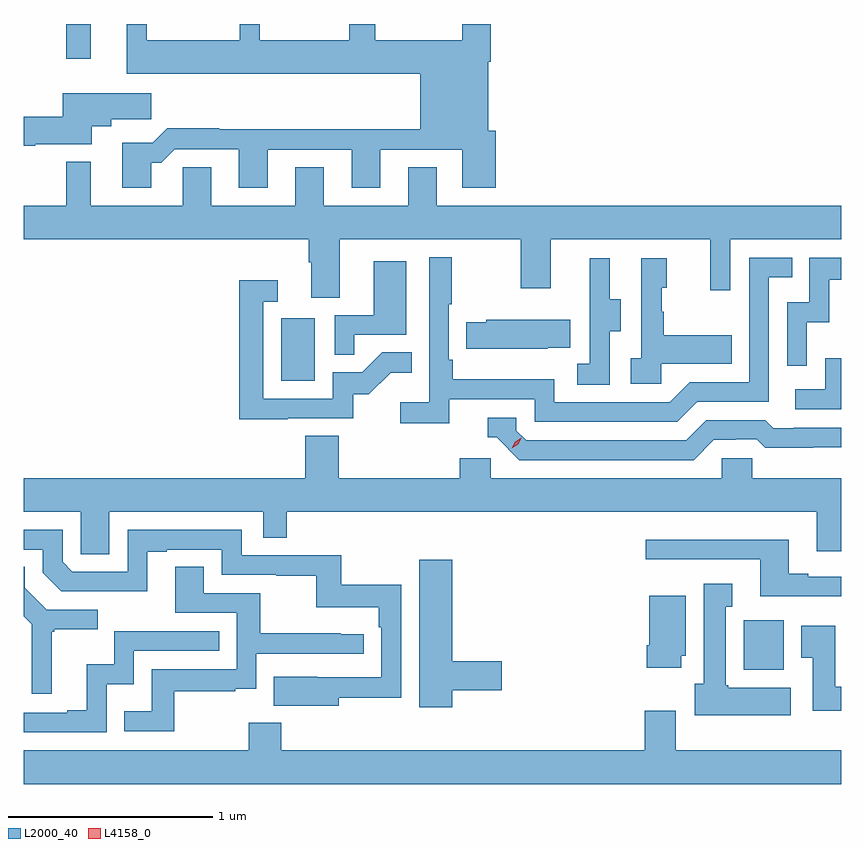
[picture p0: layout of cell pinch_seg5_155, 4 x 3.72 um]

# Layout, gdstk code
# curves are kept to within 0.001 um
import gdstk
lib = gdstk.Library(unit=1e-6, precision=1e-09)
def R(c, l, rs):  # rectangles x0, y0, x1, y1
    for r in rs: c.add(gdstk.rectangle(r[:2], r[2:], *l))
def P(c, l, *ps):  # polygons
    for p in ps: c.add(gdstk.Polygon(p, *l))
L2000_40 = (2000, 40)
L4158_0 = (4158, 0)

pinch_seg5_155 = lib.new_cell('pinch_seg5_155')
R(pinch_seg5_155, L2000_40, [(1105.088,883.958,1105.285,884.2), (1102.826,885.372,1102.99,885.679), (1101.774,886.947,1101.895,887.118)])
P(pinch_seg5_155, L2000_40, [(1102.189,886.439),(1102.238,886.439),(1102.305,886.506),(1102.619,886.506),(1102.619,886.317),(1102.759,886.317),(1102.759,886.503),(1103.171,886.503),(1103.171,886.317),(1103.311,886.317),(1103.311,886.503),(1103.711,886.503),(1103.711,886.317),(1103.876,886.317),(1103.876,886.596),(1103.839,886.596),(1103.839,886.934),(1103.852,886.934),(1103.852,887.118),(1103.711,887.118),(1103.711,887.038),(1103.287,887.038),(1103.287,887.118),(1103.159,887.118),(1103.159,887.038),(1102.72,887.038),(1102.72,887.118),(1102.622,887.118),(1102.622,887.038),(1102.168,887.038),(1102.168,887.118),(1102.07,887.118),(1102.07,886.874),(1103.507,886.874),(1103.507,886.604),(1102.523,886.604),(1102.523,886.607),(1102.268,886.607),(1102.198,886.537),(1102.049,886.537),(1102.049,886.317),(1102.189,886.317)],
  [(1101.622,886.529),(1101.898,886.529),(1101.898,886.619),(1101.994,886.619),(1101.994,886.651),(1102.189,886.651),(1102.189,886.78),(1101.758,886.78),(1101.758,886.664),(1101.566,886.664),(1101.566,886.522),(1101.622,886.522)],
  [(1103.113,886.064),(1103.998,886.064),(1103.998,885.825),(1104.145,885.825),(1104.145,886.064),(1104.926,886.064),(1104.926,885.816),(1105.023,885.816),(1105.023,886.064),(1105.566,886.064),(1105.566,886.228),(1103.587,886.228),(1103.587,886.418),(1103.447,886.418),(1103.447,886.228),(1103.035,886.228),(1103.035,886.418),(1102.895,886.418),(1102.895,886.228),(1102.483,886.228),(1102.483,886.418),(1102.344,886.418),(1102.344,886.228),(1101.895,886.228),(1101.895,886.444),(1101.774,886.444),(1101.774,886.228),(1101.566,886.228),(1101.566,886.064),(1102.961,886.064),(1102.961,885.952),(1102.973,885.952),(1102.973,885.778),(1103.113,885.778)],
  [(1103.648,885.282),(1104.066,885.282),(1104.066,885.171),(1104.763,885.171),(1104.862,885.27),(1105.212,885.27),(1105.212,885.879),(1105.325,885.879),(1105.325,885.975),(1105.116,885.975),(1105.116,885.366),(1104.825,885.366),(1104.726,885.267),(1104.162,885.267),(1104.162,885.379),(1103.666,885.379),(1103.666,885.475),(1103.646,885.475),(1103.646,885.748),(1103.659,885.748),(1103.659,885.976),(1103.55,885.976),(1103.55,885.268),(1103.409,885.268),(1103.409,885.166),(1103.648,885.166)],
  [(1105.398,885.659),(1105.508,885.659),(1105.508,885.867),(1105.566,885.867),(1105.566,885.975),(1105.41,885.975),(1105.41,885.756),(1105.302,885.756),(1105.302,885.447),(1105.398,885.447)],
  [(1104.432,885.616),(1104.487,885.616),(1104.487,885.771),(1104.433,885.771),(1104.433,885.973),(1104.335,885.973),(1104.335,885.759),(1104.336,885.759),(1104.336,885.455),(1104.273,885.455),(1104.273,885.352),(1104.432,885.352)],
  [(1104.684,885.455),(1105.031,885.455),(1105.031,885.595),(1104.697,885.595),(1104.697,885.71),(1104.687,885.71),(1104.687,885.828),(1104.712,885.828),(1104.712,885.973),(1104.588,885.973),(1104.588,885.482),(1104.537,885.482),(1104.537,885.357),(1104.684,885.357)],
  [(1103.183,885.597),(1103.437,885.597),(1103.437,885.958),(1103.279,885.958),(1103.279,885.693),(1103.088,885.693),(1103.088,885.499),(1103.183,885.499)],
  [(1102.859,885.189),(1103.178,885.189),(1103.178,885.306),(1103.254,885.306),(1103.361,885.413),(1103.465,885.413),(1103.465,885.512),(1103.321,885.512),(1103.223,885.414),(1103.079,885.414),(1103.079,885.285),(1102.737,885.285),(1102.737,885.759),(1102.81,885.759),(1102.81,885.865),(1102.621,885.865),(1102.621,885.184),(1102.859,885.184)],
  [(1104.131,885.533),(1104.239,885.533),(1104.239,885.67),(1103.829,885.67),(1103.829,885.66),(1103.731,885.66),(1103.731,885.53),(1104.131,885.53)],
  [(1105.566,885.484),(1105.488,885.484),(1105.488,885.33),(1105.341,885.33),(1105.341,885.234),(1105.566,885.234)],
  [(1104.943,885.084),(1105.05,885.084),(1105.05,885.087),(1105.153,885.087),(1105.195,885.045),(1105.428,885.045),(1105.428,885.047),(1105.566,885.047),(1105.566,885.144),(1105.333,885.144),(1105.333,885.141),(1105.234,885.141),(1105.195,885.18),(1104.906,885.18),(1104.807,885.081),(1104.024,885.081),(1103.976,885.129),(1103.976,885.192),(1103.837,885.192),(1103.837,885.096),(1103.88,885.096),(1103.991,884.985),(1104.844,884.985)],
  [(1101.985,884.732),(1102.737,884.732),(1102.737,884.605),(1102.853,884.605),(1102.853,884.732),(1105.445,884.732),(1105.445,884.538),(1105.566,884.538),(1105.566,884.896),(1105.131,884.896),(1105.131,884.994),(1104.981,884.994),(1104.981,884.896),(1103.85,884.896),(1103.85,884.994),(1103.699,884.994),(1103.699,884.896),(1103.108,884.896),(1103.108,885.104),(1102.943,885.104),(1102.943,884.896),(1101.566,884.896),(1101.566,884.732),(1101.846,884.732),(1101.846,884.524),(1101.985,884.524)],
  [(1103.107,883.822),(1103.412,883.822),(1103.412,884.374),(1103.119,884.374),(1103.119,884.52),(1102.632,884.52),(1102.632,884.643),(1102.074,884.643),(1102.074,884.439),(1101.804,884.439),(1101.756,884.487),(1101.756,884.643),(1101.566,884.643),(1101.566,884.547),(1101.66,884.547),(1101.66,884.433),(1101.75,884.343),(1102.171,884.342),(1102.171,884.535),(1102.267,884.535),(1102.267,884.547),(1102.536,884.547),(1102.536,884.424),(1102.801,884.424),(1102.801,884.419),(1102.998,884.419),(1102.998,884.264),(1103.303,884.264),(1103.303,884.168),(1103.316,884.168),(1103.316,883.923),(1102.789,883.924),(1102.789,883.784),(1103.107,883.784)],
  [(1105.566,884.415),(1105.405,884.415),(1105.405,884.428),(1105.309,884.428),(1105.309,884.596),(1104.609,884.596),(1104.609,884.499),(1105.169,884.499),(1105.169,884.318),(1105.566,884.318)],
  [(1103.662,883.858),(1103.905,883.858),(1103.905,884),(1103.662,884),(1103.662,884.497),(1103.501,884.497),(1103.501,883.776),(1103.662,883.776)],
  [(1101.703,884.145),(1101.715,884.145),(1101.715,884.156),(1101.928,884.156),(1101.928,884.253),(1101.678,884.253),(1101.571,884.36),(1101.571,884.462),(1101.566,884.462),(1101.566,884.221),(1101.606,884.181),(1101.606,883.842),(1101.703,883.842)],
  [(1102.303,883.854),(1102.601,883.854),(1102.601,883.865),(1102.704,883.865),(1102.704,884.037),(1103.23,884.037),(1103.23,884.133),(1103.117,884.133),(1103.117,884.138),(1102.724,884.138),(1102.724,884.334),(1102.447,884.334),(1102.447,884.462),(1102.307,884.462),(1102.307,884.238),(1102.608,884.238),(1102.608,883.962),(1102.192,883.962),(1102.192,883.756),(1102.057,883.756),(1102.057,883.659),(1102.303,883.659)],
  [(1105.318,883.87),(1105.014,883.87),(1105.014,883.884),(1105,883.884),(1105,884.267),(1105.033,884.267),(1105.033,884.38),(1104.893,884.38),(1104.893,883.89),(1104.848,883.89),(1104.848,883.736),(1105.318,883.736)],
  [(1104.784,884.028),(1104.805,884.028),(1104.805,884.32),(1104.626,884.32),(1104.626,884.08),(1104.614,884.08),(1104.614,883.968),(1104.784,883.968)],
  [(1105.566,883.876),(1105.537,883.876),(1105.537,884.173),(1105.37,884.173),(1105.37,884.017),(1105.427,884.017),(1105.427,883.758),(1105.566,883.758)],
  [(1101.972,883.889),(1102.104,883.889),(1102.104,884.052),(1102.523,884.052),(1102.523,884.148),(1102.008,884.148),(1102.008,883.987),(1101.875,883.987),(1101.875,883.762),(1101.779,883.762),(1101.779,883.749),(1101.566,883.749),(1101.566,883.653),(1101.972,883.653)],
  [(1105.566,883.564),(1104.757,883.564),(1104.757,883.759),(1104.605,883.759),(1104.605,883.564),(1102.826,883.564),(1102.826,883.699),(1102.666,883.699),(1102.666,883.564),(1101.566,883.564),(1101.566,883.4),(1105.566,883.4)])
P(pinch_seg5_155, L4158_0, [(1103.954,885.042),(1103.954,885.042),(1103.97,885.075),(1104,885.095),(1104,885.095),(1104,885.094),(1103.985,885.062),(1103.954,885.042)])

lib.write_gds('pinch_seg5_155.gds')
